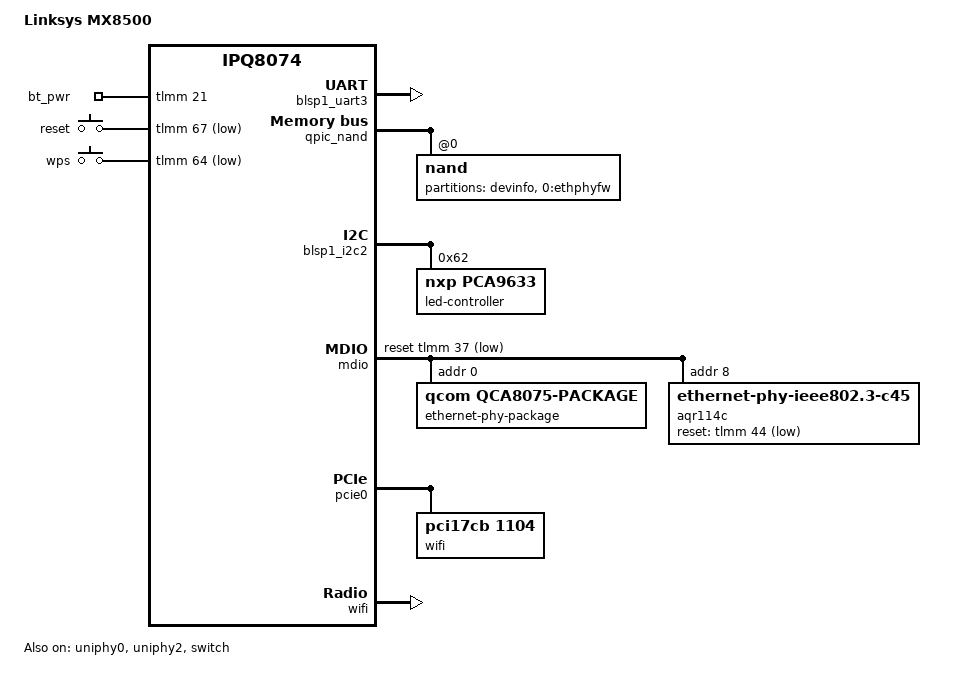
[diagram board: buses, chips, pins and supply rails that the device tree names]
// SPDX-License-Identifier: GPL-2.0-or-later OR MIT

/dts-v1/;

#include "ipq8074.dtsi"
#include "ipq8074-ess.dtsi"
#include "ipq8074-nss.dtsi"
#include "ipq8074-common.dtsi"
#include "ipq8074-hk-cpu.dtsi"

#include <dt-bindings/gpio/gpio.h>
#include <dt-bindings/input/input.h>
#include <dt-bindings/leds/common.h>

/ {
	model = "Linksys MX8500";
	compatible = "linksys,mx8500", "qcom,ipq8074";

	aliases {
		serial0 = &blsp1_uart5;
		serial1 = &blsp1_uart3;

		led-boot = &led_system_blue;
		led-running = &led_system_blue;
		led-failsafe = &led_system_red;
		led-upgrade = &led_system_green;
	};

	chosen {
		stdout-path = "serial0:115200n8";
		bootargs-append = " root=/dev/ubiblock0_0";
	};

	gpio-export {
		compatible = "gpio-export";

		bt_pwr {
			gpio-export,name = "bt_pwr";
			gpio-export,output = <1>;
			gpios = <&tlmm 21 GPIO_ACTIVE_HIGH>;
		};
	};

	keys {
		compatible = "gpio-keys";

		reset-button {
			label = "reset";
			gpios = <&tlmm 67 GPIO_ACTIVE_LOW>;
			linux,code = <KEY_RESTART>;
		};

		wps-button {
			label = "wps";
			gpios = <&tlmm 64 GPIO_ACTIVE_LOW>;
			linux,code = <KEY_WPS_BUTTON>;
		};
	};
};

&blsp1_uart3 {
	status = "okay";
};

&qpic_nand {
	status = "okay";

	/*
	 * Bootloader will find the NAND DT node by the compatible and
	 * then "fixup" it by adding the partitions from the SMEM table
	 * using the legacy bindings thus making it impossible for us
	 * to change the partition table or utilize NVMEM for calibration.
	 * So add a dummy partitions node that bootloader will populate
	 * and set it as disabled so the kernel ignores it instead of
	 * printing warnings due to the broken way bootloader adds the
	 * partitions.
	 */
	partitions {
		status = "disabled";
	};

	nand@0 {
		reg = <0>;

		nand-ecc-strength = <4>;
		nand-ecc-step-size = <512>;
		nand-bus-width = <8>;

		partitions {
			compatible = "qcom,smem-part";

			partition-devinfo {
				label = "devinfo";
				read-only;

				nvmem-layout {
					compatible = "ascii-eq-delim-env";

					hw_mac_addr: hw_mac_addr {
						compatible = "mac-base";
						#nvmem-cell-cells = <1>;
					};
				};
			};

			partition-0-ethphyfw {
				label = "0:ethphyfw";
				read-only;

				nvmem-layout {
					compatible = "fixed-layout";
					#address-cells = <1>;
					#size-cells = <1>;

					aqr_fw: firmware@28 {
						/* Skip the QCOM MBN Header of 40 bytes */
						reg = <0x28 0x60002>;
					};
				};
			};
		};
	};
};

&blsp1_i2c2 {
	status = "okay";

	led-controller@62 {
		compatible = "nxp,pca9633";
		#address-cells = <1>;
		#size-cells = <0>;
		reg = <0x62>;
		nxp,hw-blink;

		led_system_red: led@0 {
			reg = <0>;
			color = <LED_COLOR_ID_RED>;
			function = LED_FUNCTION_STATUS;
		};

		led_system_green: led@1 {
			reg = <1>;
			color = <LED_COLOR_ID_GREEN>;
			function = LED_FUNCTION_STATUS;
		};

		led_system_blue: led@2 {
			reg = <2>;
			color = <LED_COLOR_ID_BLUE>;
			function = LED_FUNCTION_STATUS;
		};
	};
};

&mdio {
	status = "okay";
	pinctrl-0 = <&mdio_pins>;
	pinctrl-names = "default";
	reset-gpios = <&tlmm 37 GPIO_ACTIVE_LOW>;

	ethernet-phy-package@0 {
		compatible = "qcom,qca8075-package";
		qcom,package-mode = "qsgmii";
		#address-cells = <1>;
		#size-cells = <0>;
		reg = <0>;

		qca8075_0: ethernet-phy@0 {
			compatible = "ethernet-phy-ieee802.3-c22";
			reg = <0>;
		};

		qca8075_1: ethernet-phy@1 {
			compatible = "ethernet-phy-ieee802.3-c22";
			reg = <1>;
		};

		qca8075_2: ethernet-phy@2 {
			compatible = "ethernet-phy-ieee802.3-c22";
			reg = <2>;
		};

		qca8075_3: ethernet-phy@3 {
			compatible = "ethernet-phy-ieee802.3-c22";
			reg = <3>;
		};
	};

	aqr114c: ethernet-phy@8 {
		compatible = "ethernet-phy-ieee802.3-c45";
		reg = <8>;
		reset-gpios = <&tlmm 44 GPIO_ACTIVE_LOW>;
		firmware-name = "marvell/AQR-G4_v5.6.5-AQR_WNC_SAQA-L2_GT_ID45287_VER24005.cld";
		nvmem-cells = <&aqr_fw>;
		nvmem-cell-names = "firmware";
	};
};

&uniphy0 {
	status = "okay";
};

&uniphy2 {
	status = "okay";
};

&switch {
	status = "okay";

	ports {
		#address-cells = <1>;
		#size-cells = <0>;

		port@0 {
			reg = <0>;
			ethernet = <&edma>;
			phy-mode = "internal";

			fixed-link {
				speed = <1000>;
				full-duplex;
			};
		};

		swport1: port@1 {
			reg = <1>;
			label = "lan1";
			phy-handle = <&qca8075_0>;
			phy-mode = "qsgmii";
			pcs-handle = <&uniphy0 0>;
			nvmem-cells = <&hw_mac_addr 1>;
			nvmem-cell-names = "mac-address";
		};

		swport2: port@2 {
			reg = <2>;
			label = "lan2";
			phy-handle = <&qca8075_1>;
			phy-mode = "qsgmii";
			pcs-handle = <&uniphy0 1>;
			nvmem-cells = <&hw_mac_addr 1>;
			nvmem-cell-names = "mac-address";
		};

		swport3: port@3 {
			reg = <3>;
			label = "lan3";
			phy-handle = <&qca8075_2>;
			phy-mode = "qsgmii";
			pcs-handle = <&uniphy0 2>;
			nvmem-cells = <&hw_mac_addr 1>;
			nvmem-cell-names = "mac-address";
		};

		swport4: port@4 {
			reg = <4>;
			label = "lan4";
			phy-handle = <&qca8075_3>;
			phy-mode = "qsgmii";
			pcs-handle = <&uniphy0 3>;
			nvmem-cells = <&hw_mac_addr 1>;
			nvmem-cell-names = "mac-address";
		};

		swport6: port@6 {
			reg = <6>;
			label = "wan";
			phy-handle = <&aqr114c>;
			phy-mode = "usxgmii";
			pcs-handle = <&uniphy2 0>;
			nvmem-cells = <&hw_mac_addr 0>;
			nvmem-cell-names = "mac-address";
		};
	};
};

&edma {
	status = "okay";
};


&pcie0 {
	status = "okay";
	perst-gpios = <&tlmm 61 GPIO_ACTIVE_LOW>;

	pcie@0 {
		wifi@0,0 {
			status = "okay";
			compatible = "pci17cb,1104";
			qcom,ath11k-fw-memory-mode = <1>;
			qcom,ath11k-calibration-variant = "Linksys-MX8500";
			reg = <0x00010000 0 0 0 0>;
		};
	};
};

&wifi {
	status = "okay";
	qcom,ath11k-fw-memory-mode = <1>;
	qcom,ath11k-calibration-variant = "Linksys-MX8500";
};
